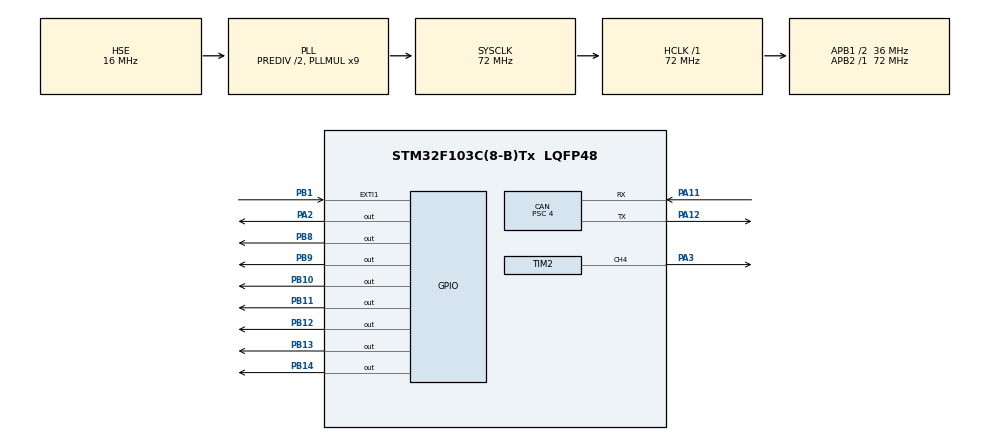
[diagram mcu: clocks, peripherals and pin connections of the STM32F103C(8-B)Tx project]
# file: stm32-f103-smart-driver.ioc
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CAN.BS1=CAN_BS1_7TQ
CAN.CalculateTimeBit=1000
CAN.CalculateTimeQuantum=111.11111111111111
CAN.Prescaler=4
Mcu.Family=STM32F1
Mcu.Name=STM32F103C(8-B)Tx
Mcu.Package=LQFP48
NVIC.EXTI1_IRQn=true\:0\:0\:true\:false\:true\:true\:true
NVIC.PriorityGroup=NVIC_PRIORITYGROUP_4
NVIC.USB_LP_CAN1_RX0_IRQn=true\:0\:0\:true\:false\:true\:true\:true
PA0-WKUP.Mode=SYS_WakeUp0
PA0-WKUP.Signal=SYS_WKUP
PA11.Mode=Master
PA11.Signal=CAN_RX
PA12.Mode=Master
PA12.Signal=CAN_TX
PA2.Signal=GPIO_Output
PA3.Signal=S_TIM2_CH4
PB1.GPIO_PuPd=GPIO_PULLDOWN
PB1.Signal=GPXTI1
PB10.Signal=GPIO_Output
PB11.Signal=GPIO_Output
PB12.Signal=GPIO_Output
PB13.Signal=GPIO_Output
PB14.Signal=GPIO_Output
PB8.Signal=GPIO_Output
PB9.Signal=GPIO_Output
PD0-OSC_IN.Mode=HSE-External-Oscillator
PD0-OSC_IN.Signal=RCC_OSC_IN
PD1-OSC_OUT.Mode=HSE-External-Oscillator
PD1-OSC_OUT.Signal=RCC_OSC_OUT
ProjectManager.HeapSize=0x200
ProjectManager.StackSize=0x400
ProjectManager.TargetToolchain=STM32CubeIDE
RCC.AHBFreq_Value=72000000
RCC.APB1CLKDivider=RCC_HCLK_DIV2
RCC.APB1Freq_Value=36000000
RCC.APB1TimFreq_Value=72000000
RCC.APB2Freq_Value=72000000
RCC.APB2TimFreq_Value=72000000
RCC.HCLKFreq_Value=72000000
RCC.HSEDivPLL=RCC_HSE_PREDIV_DIV2
RCC.HSE_VALUE=16000000
RCC.PLLMUL=RCC_PLL_MUL9
RCC.PLLSourceVirtual=RCC_PLLSOURCE_HSE
RCC.SYSCLKFreq_VALUE=72000000
RCC.SYSCLKSource=RCC_SYSCLKSOURCE_PLLCLK
RCC.USBFreq_Value=72000000
SH.S_TIM2_CH4.0=TIM2_CH4,PWM Generation4 CH4
TIM2.Channel-PWM\ Generation4\ CH4=TIM_CHANNEL_4
TIM2.Period=999
TIM2.Prescaler=8
VP_SYS_VS_ND.Mode=No_Debug
VP_TIM2_VS_ClockSourceINT.Mode=Internal
board=custom

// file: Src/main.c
/* USER CODE BEGIN Header */
/**
  ******************************************************************************
  * @file           : main.c
  * @brief          : Main program body
  ******************************************************************************
  * @attention
  *
  * <h2><center>&copy; Copyright (c) 2020 STMicroelectronics.
  * All rights reserved.</center></h2>
  *
  * This software component is licensed by ST under BSD 3-Clause license,
  * the "License"; You may not use this file except in compliance with the
  * License. You may obtain a copy of the License at:
  *                        opensource.org/licenses/BSD-3-Clause
  *
  ******************************************************************************
  */
/* USER CODE END Header */
#include "main.h"

/* USER CODE BEGIN PD */
#define _CW 0
#define _CCW 1
#define _STOP 2
/* USER CODE END PD */

CAN_HandleTypeDef hcan;

TIM_HandleTypeDef htim2;

/* USER CODE BEGIN PV */
CAN_TxHeaderTypeDef pHeader;
CAN_RxHeaderTypeDef pRxHeader;
CAN_FilterTypeDef sFilterConfig;
uint32_t TxMailbox;

uint8_t driver_tx_data[4] = {0};
uint8_t can_rx_control_data[8] = {0};
uint8_t can_rx_side;
uint8_t can_rx_speed;

volatile uint16_t encoder_tick;
volatile uint8_t encoder_speed;

uint32_t encoder_ratio = 555;
uint32_t header_id = 0x3A;
uint32_t filter_id = 0x3F;
uint32_t input_capture = 0;

uint16_t dc_driver_pwm = 0;

enum States
{
	State_Start,
	State_CW,
	State_CCW,
	State_Stop
};

uint8_t flag = State_CCW;

/* USER CODE END PV */

void SystemClock_Config(void);
static void MX_GPIO_Init(void);
static void MX_TIM2_Init(void);
static void MX_CAN_Init(void);

int main(void)
{

  /* MCU Configuration--------------------------------------------------------*/

  /* Reset of all peripherals, Initializes the Flash interface and the Systick. */
  HAL_Init();

  /* Configure the system clock */
  SystemClock_Config();

  /* Initialize all configured peripherals */
  MX_GPIO_Init();
  MX_TIM2_Init();
  MX_CAN_Init();
  /* USER CODE BEGIN 2 */
  HAL_TIM_PWM_Start(&htim2, TIM_CHANNEL_4);
  HAL_GPIO_WritePin(GPIOA,GPIO_PIN_2,GPIO_PIN_SET);

  pHeader.DLC = 4;
  pHeader.IDE = CAN_ID_STD;
  pHeader.RTR = CAN_RTR_DATA;
  pHeader.StdId = header_id;

  sFilterConfig.FilterFIFOAssignment = CAN_FILTER_FIFO0;
  sFilterConfig.FilterIdHigh = filter_id <<5;
  sFilterConfig.FilterIdLow = 0;
  sFilterConfig.FilterMaskIdHigh = 0;
  sFilterConfig.FilterMaskIdLow = 0;
  sFilterConfig.FilterScale = CAN_FILTERSCALE_16BIT;
  sFilterConfig.FilterMode = CAN_FILTERMODE_IDLIST;
  sFilterConfig.FilterActivation = ENABLE;
  HAL_CAN_ConfigFilter(&hcan, &sFilterConfig);

  HAL_CAN_Start(&hcan);
  HAL_CAN_ActivateNotification(&hcan, CAN_IT_RX_FIFO0_MSG_PENDING);

  void rotate_ccw(uint8_t r_speed) {
	  HAL_GPIO_WritePin(GPIOB,GPIO_PIN_8,GPIO_PIN_RESET);
	  HAL_GPIO_WritePin(GPIOB,GPIO_PIN_9,GPIO_PIN_SET);
//	  if (HAL_GetTick() % 100 == 0) {
//		  inc = calculate((double)(r_speed), (double)encoder_speed);
//		  u_pwm += inc;
//		  if( u_pwm > _max )
//			  u_pwm = _max;
//		  else if( u_pwm < _min )
//			  u_pwm = _min;
//		  dc_driver_pwm = u_pwm;
//	  }
	  TIM2->CCR4 = (uint16_t)dc_driver_pwm;
  }

  void rotate_cw(uint8_t l_speed) {
	  HAL_GPIO_WritePin(GPIOB,GPIO_PIN_8,GPIO_PIN_SET);
	  HAL_GPIO_WritePin(GPIOB,GPIO_PIN_9,GPIO_PIN_RESET);
//	  if (HAL_GetTick() % 100 == 0) {
//		  inc = calculate((double)(l_speed), (double)encoder_speed);
//		  u_pwm += inc;
//		  if( u_pwm > _max )
//			  u_pwm = _max;
//		  else if( u_pwm < _min )
//			  u_pwm = _min;
//		  dc_driver_pwm = u_pwm;
//	  }
	  TIM2->CCR4 = (uint16_t)dc_driver_pwm;
	  //TIM2->CCR4 = 1500;
  }
  void reduce_speed_ccw() {
	  HAL_GPIO_WritePin(GPIOB,GPIO_PIN_8,GPIO_PIN_RESET);
	  HAL_GPIO_WritePin(GPIOB,GPIO_PIN_9,GPIO_PIN_SET);
//	  if (HAL_GetTick() % 100 == 0) {
//		  inc = calculate(0, (double)encoder_speed);
//		  u_pwm += inc;
//		  if( u_pwm > _max )
//			  u_pwm = _max;
//		  else if( u_pwm < _min )
//			  u_pwm = _min;
//		  dc_driver_pwm = u_pwm;
//	  }
	  TIM2->CCR4 = (uint16_t)dc_driver_pwm;
  }

  void reduce_speed_cw() {
  	  HAL_GPIO_WritePin(GPIOB,GPIO_PIN_8,GPIO_PIN_SET);
  	  HAL_GPIO_WritePin(GPIOB,GPIO_PIN_9,GPIO_PIN_RESET);
//	  if (HAL_GetTick() % 100 == 0) {
//		  inc = calculate(0, (double)encoder_speed);
//		  u_pwm += inc;
//		  if( u_pwm > _max )
//			  u_pwm = _max;
//		  else if( u_pwm < _min )
//			  u_pwm = _min;
//		  dc_driver_pwm = u_pwm;
//	  }
	  TIM2->CCR4 = (uint16_t)dc_driver_pwm;
  }

  void stop_movement(void)
  {
	  HAL_GPIO_WritePin(GPIOB,GPIO_PIN_8,GPIO_PIN_RESET);
	  HAL_GPIO_WritePin(GPIOB,GPIO_PIN_9,GPIO_PIN_RESET);
	  TIM2->CCR4 = 0;
  }

  /* USER CODE END 2 */

  /* Infinite loop */
  while (1)
  {

    /* USER CODE BEGIN 3 */
//	  HAL_GPIO_WritePin(GPIOB,GPIO_PIN_8,GPIO_PIN_RESET);
//	  HAL_GPIO_WritePin(GPIOB,GPIO_PIN_9,GPIO_PIN_SET);
//	  TIM2->CCR4 = 4999;
	  rotate_cw(60);
//	  move_left(can_rx_speed);
//	  if ((can_rx_speed > 0)&&(flag == State_CCW)) {
//		  rotate_ccw(can_rx_speed);
//		  flag = State_CCW;
//	  }
//	  else if ((can_rx_speed < 0)&&(flag == State_CCW)) {
//		  while (TIM2->CCR4 > 0) {
//			  reduce_speed_ccw();
//		  }
//		  stop_movement();
//		  flag = State_CW;
//	  }
//	  else if ((can_rx_speed < 0)&&(flag == State_CW)) {
//		  rotate_cw(-can_rx_speed);
//		  flag = State_CW;
//	  }
//	  else if ((can_rx_speed > 0)&&(flag == State_CW)) {
//		  while (TIM2->CCR4 > 0) {
//			  reduce_speed_cw();
//		  }
//		  stop_movement();
//		  flag = State_CCW;
//	  }
//	  else if (can_rx_speed == 0) {
//		  stop_movement();
//	  }
  }
  /* USER CODE END 3 */
}

void SystemClock_Config(void)
{
  RCC_OscInitTypeDef RCC_OscInitStruct = {0};
  RCC_ClkInitTypeDef RCC_ClkInitStruct = {0};

  /** Initializes the RCC Oscillators according to the specified parameters
  * in the RCC_OscInitTypeDef structure.
  */
  RCC_OscInitStruct.OscillatorType = RCC_OSCILLATORTYPE_HSE;
  RCC_OscInitStruct.HSEState = RCC_HSE_ON;
  RCC_OscInitStruct.HSEPredivValue = RCC_HSE_PREDIV_DIV2;
  RCC_OscInitStruct.HSIState = RCC_HSI_ON;
  RCC_OscInitStruct.PLL.PLLState = RCC_PLL_ON;
  RCC_OscInitStruct.PLL.PLLSource = RCC_PLLSOURCE_HSE;
  RCC_OscInitStruct.PLL.PLLMUL = RCC_PLL_MUL9;
  if (HAL_RCC_OscConfig(&RCC_OscInitStruct) != HAL_OK)
  {
    Error_Handler();
  }
  /** Initializes the CPU, AHB and APB buses clocks
  */
  RCC_ClkInitStruct.ClockType = RCC_CLOCKTYPE_HCLK|RCC_CLOCKTYPE_SYSCLK
                              |RCC_CLOCKTYPE_PCLK1|RCC_CLOCKTYPE_PCLK2;
  RCC_ClkInitStruct.SYSCLKSource = RCC_SYSCLKSOURCE_PLLCLK;
  RCC_ClkInitStruct.AHBCLKDivider = RCC_SYSCLK_DIV1;
  RCC_ClkInitStruct.APB1CLKDivider = RCC_HCLK_DIV2;
  RCC_ClkInitStruct.APB2CLKDivider = RCC_HCLK_DIV1;

  if (HAL_RCC_ClockConfig(&RCC_ClkInitStruct, FLASH_LATENCY_2) != HAL_OK)
  {
    Error_Handler();
  }
}

static void MX_CAN_Init(void)
{

  hcan.Instance = CAN1;
  hcan.Init.Prescaler = 4;
  hcan.Init.Mode = CAN_MODE_NORMAL;
  hcan.Init.SyncJumpWidth = CAN_SJW_1TQ;
  hcan.Init.TimeSeg1 = CAN_BS1_7TQ;
  hcan.Init.TimeSeg2 = CAN_BS2_1TQ;
  hcan.Init.TimeTriggeredMode = DISABLE;
  hcan.Init.AutoBusOff = DISABLE;
  hcan.Init.AutoWakeUp = DISABLE;
  hcan.Init.AutoRetransmission = DISABLE;
  hcan.Init.ReceiveFifoLocked = DISABLE;
  hcan.Init.TransmitFifoPriority = DISABLE;
  if (HAL_CAN_Init(&hcan) != HAL_OK)
  {
    Error_Handler();
  }

}

static void MX_TIM2_Init(void)
{

  TIM_ClockConfigTypeDef sClockSourceConfig = {0};
  TIM_MasterConfigTypeDef sMasterConfig = {0};
  TIM_OC_InitTypeDef sConfigOC = {0};

  htim2.Instance = TIM2;
  htim2.Init.Prescaler = 1;
  htim2.Init.CounterMode = TIM_COUNTERMODE_UP;
  htim2.Init.Period = 3599;
  htim2.Init.ClockDivision = TIM_CLOCKDIVISION_DIV1;
  htim2.Init.AutoReloadPreload = TIM_AUTORELOAD_PRELOAD_DISABLE;
  if (HAL_TIM_Base_Init(&htim2) != HAL_OK)
  {
    Error_Handler();
  }
  sClockSourceConfig.ClockSource = TIM_CLOCKSOURCE_INTERNAL;
  if (HAL_TIM_ConfigClockSource(&htim2, &sClockSourceConfig) != HAL_OK)
  {
    Error_Handler();
  }
  if (HAL_TIM_PWM_Init(&htim2) != HAL_OK)
  {
    Error_Handler();
  }
  sMasterConfig.MasterOutputTrigger = TIM_TRGO_RESET;
  sMasterConfig.MasterSlaveMode = TIM_MASTERSLAVEMODE_DISABLE;
  if (HAL_TIMEx_MasterConfigSynchronization(&htim2, &sMasterConfig) != HAL_OK)
  {
    Error_Handler();
  }
  sConfigOC.OCMode = TIM_OCMODE_PWM1;
  sConfigOC.Pulse = 0;
  sConfigOC.OCPolarity = TIM_OCPOLARITY_HIGH;
  sConfigOC.OCFastMode = TIM_OCFAST_DISABLE;
  if (HAL_TIM_PWM_ConfigChannel(&htim2, &sConfigOC, TIM_CHANNEL_4) != HAL_OK)
  {
    Error_Handler();
  }
  HAL_TIM_MspPostInit(&htim2);

}

static void MX_GPIO_Init(void)
{
  GPIO_InitTypeDef GPIO_InitStruct = {0};

  /* GPIO Ports Clock Enable */
  __HAL_RCC_GPIOD_CLK_ENABLE();
  __HAL_RCC_GPIOA_CLK_ENABLE();
  __HAL_RCC_GPIOB_CLK_ENABLE();

  /*Configure GPIO pin Output Level */
  HAL_GPIO_WritePin(GPIOA, GPIO_PIN_2, GPIO_PIN_RESET);

  /*Configure GPIO pin Output Level */
  HAL_GPIO_WritePin(GPIOB, GPIO_PIN_10|GPIO_PIN_11|GPIO_PIN_12|GPIO_PIN_13
                          |GPIO_PIN_14|GPIO_PIN_8|GPIO_PIN_9, GPIO_PIN_RESET);

  /*Configure GPIO pin : PA2 */
  GPIO_InitStruct.Pin = GPIO_PIN_2;
  GPIO_InitStruct.Mode = GPIO_MODE_OUTPUT_PP;
  GPIO_InitStruct.Pull = GPIO_NOPULL;
  GPIO_InitStruct.Speed = GPIO_SPEED_FREQ_LOW;
  HAL_GPIO_Init(GPIOA, &GPIO_InitStruct);

  /*Configure GPIO pin : PB1 */
  GPIO_InitStruct.Pin = GPIO_PIN_1;
  GPIO_InitStruct.Mode = GPIO_MODE_IT_RISING;
  GPIO_InitStruct.Pull = GPIO_PULLDOWN;
  HAL_GPIO_Init(GPIOB, &GPIO_InitStruct);

  /*Configure GPIO pins : PB10 PB11 PB12 PB13
                           PB14 PB8 PB9 */
  GPIO_InitStruct.Pin = GPIO_PIN_10|GPIO_PIN_11|GPIO_PIN_12|GPIO_PIN_13
                          |GPIO_PIN_14|GPIO_PIN_8|GPIO_PIN_9;
  GPIO_InitStruct.Mode = GPIO_MODE_OUTPUT_PP;
  GPIO_InitStruct.Pull = GPIO_NOPULL;
  GPIO_InitStruct.Speed = GPIO_SPEED_FREQ_LOW;
  HAL_GPIO_Init(GPIOB, &GPIO_InitStruct);

  /* EXTI interrupt init*/
  HAL_NVIC_SetPriority(EXTI1_IRQn, 0, 0);
  HAL_NVIC_EnableIRQ(EXTI1_IRQn);

}

void Error_Handler(void)
{
}

/************************ (C) COPYRIGHT STMicroelectronics *****END OF FILE****/
